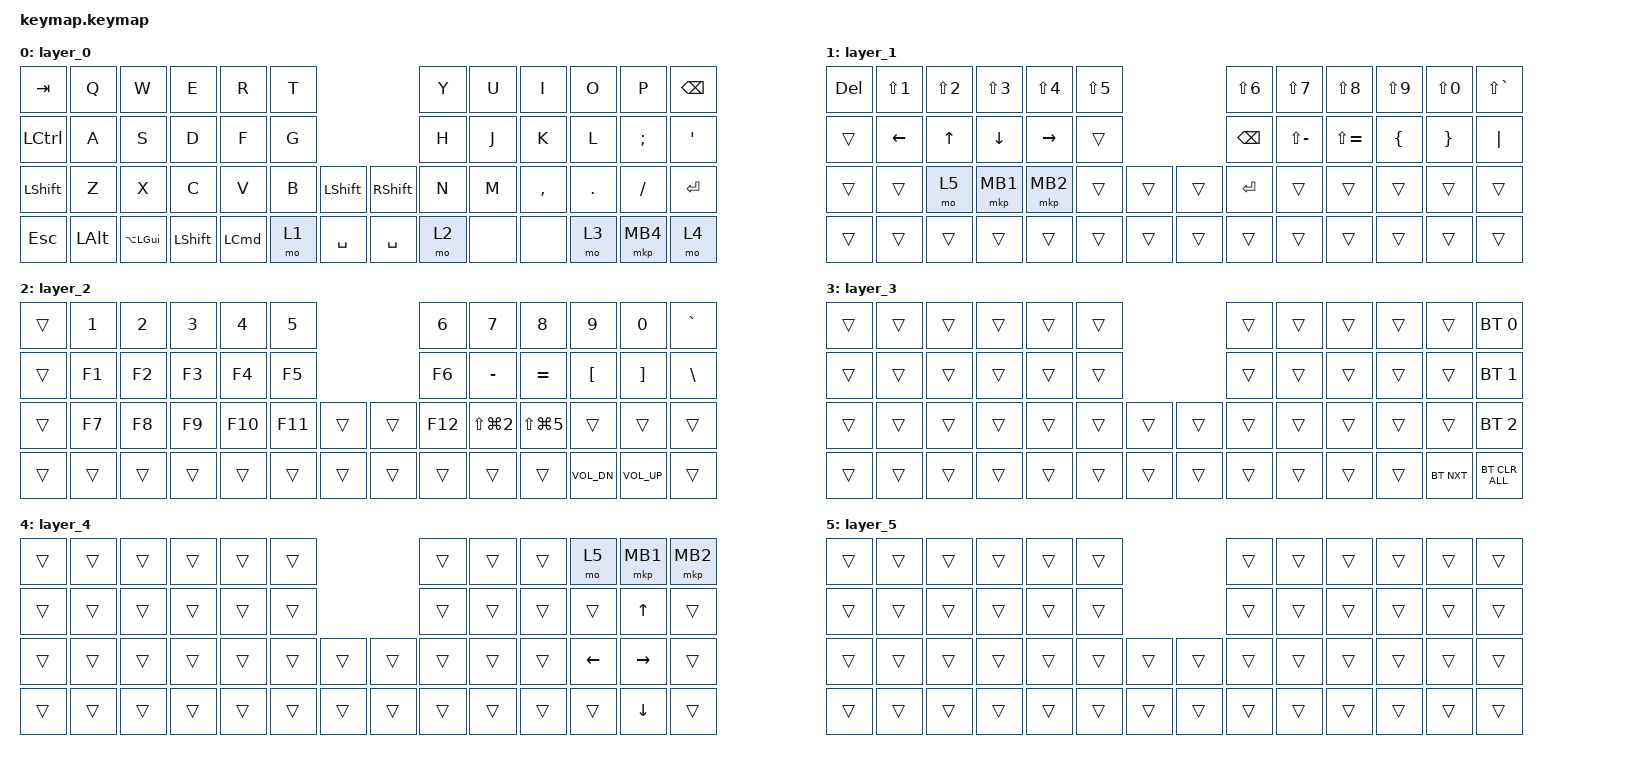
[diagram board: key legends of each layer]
#include <behaviors.dtsi>
#include <dt-bindings/zmk/bt.h>
#include <dt-bindings/zmk/keys.h>
#include <dt-bindings/zmk/pointing.h>

/ {
    combos {
        compatible = "zmk,combos";

        bt_clear {
            bindings = <&bt BT_CLR>;
            key-positions = <28 29>;
            layers = <2>;
        };
    };

    keymap {
        compatible = "zmk,keymap";

        layer_0 {
            bindings = <
&kp TAB    &kp Q         &kp W             &kp E           &kp R             &kp T                                   &kp Y  &kp U  &kp I      &kp O    &kp P     &kp BACKSPACE
&kp LCTRL  &kp A         &kp S             &kp D           &kp F             &kp G                                   &kp H  &kp J  &kp K      &kp L    &kp SEMI  &kp SQT
&kp LSHFT  &kp Z         &kp X             &kp C           &kp V             &kp B  &kp LEFT_SHIFT  &kp RIGHT_SHIFT  &kp N  &kp M  &kp COMMA  &kp DOT  &kp FSLH  &kp RET
&kp ESC    &kp LEFT_ALT  &kp LA(LEFT_GUI)  &kp LEFT_SHIFT  &kp LEFT_COMMAND  &mo 1  &kp SPACE       &kp SPACE        &mo 2  &none  &none      &mo 3    &mkp MB4  &mo 4
            >;
        };

        layer_1 {
            bindings = <
&kp DELETE  &kp LS(N1)      &kp LS(N2)    &kp LS(N3)  &kp LS(N4)       &kp LS(N5)                  &kp LS(N6)     &kp LS(N7)     &kp LS(N8)     &kp LS(N9)      &kp LS(N0)       &kp LS(GRAVE)
&trans      &kp LEFT_ARROW  &kp UP_ARROW  &kp DOWN    &kp RIGHT_ARROW  &trans                      &kp BACKSPACE  &kp LS(MINUS)  &kp LS(EQUAL)  &kp LEFT_BRACE  &kp RIGHT_BRACE  &kp PIPE
&trans      &trans          &mo 5         &mkp MB1    &mkp MB2         &trans      &trans  &trans  &kp ENTER      &trans         &trans         &trans          &trans           &trans
&trans      &trans          &trans        &trans      &trans           &trans      &trans  &trans  &trans         &trans         &trans         &trans          &trans           &trans
            >;
        };

        layer_2 {
            bindings = <
&trans  &kp N1  &kp N2  &kp N3  &kp N4   &kp N5                   &kp N6   &kp N7                &kp N8          &kp N9            &kp N0             &kp GRAVE
&trans  &kp F1  &kp F2  &kp F3  &kp F4   &kp F5                   &kp F6   &kp MINUS             &kp EQUAL       &kp LEFT_BRACKET  &kp RIGHT_BRACKET  &kp BACKSLASH
&trans  &kp F7  &kp F8  &kp F9  &kp F10  &kp F11  &trans  &trans  &kp F12  &kp LS(LG(NUMBER_2))  &kp LS(LG(N5))  &trans            &trans             &trans
&trans  &trans  &trans  &trans  &trans   &trans   &trans  &trans  &trans   &trans                &trans          &kp C_VOL_DN      &kp C_VOL_UP       &trans
            >;
        };

        layer_3 {
            bindings = <
&trans  &trans  &trans  &trans  &trans  &trans                  &trans  &trans  &trans  &trans  &trans      &bt BT_SEL 0
&trans  &trans  &trans  &trans  &trans  &trans                  &trans  &trans  &trans  &trans  &trans      &bt BT_SEL 1
&trans  &trans  &trans  &trans  &trans  &trans  &trans  &trans  &trans  &trans  &trans  &trans  &trans      &bt BT_SEL 2
&trans  &trans  &trans  &trans  &trans  &trans  &trans  &trans  &trans  &trans  &trans  &trans  &bt BT_NXT  &bt BT_CLR_ALL
            >;
        };

        layer_4 {
            bindings = <
&trans  &trans  &trans  &trans  &trans  &trans                  &trans  &trans  &trans  &mo 5     &mkp MB1   &mkp MB2
&trans  &trans  &trans  &trans  &trans  &trans                  &trans  &trans  &trans  &trans    &kp UP     &trans
&trans  &trans  &trans  &trans  &trans  &trans  &trans  &trans  &trans  &trans  &trans  &kp LEFT  &kp RIGHT  &trans
&trans  &trans  &trans  &trans  &trans  &trans  &trans  &trans  &trans  &trans  &trans  &trans    &kp DOWN   &trans
            >;
        };

        layer_5 {
            bindings = <
&trans  &trans  &trans  &trans  &trans  &trans                  &trans  &trans  &trans  &trans  &trans  &trans
&trans  &trans  &trans  &trans  &trans  &trans                  &trans  &trans  &trans  &trans  &trans  &trans
&trans  &trans  &trans  &trans  &trans  &trans  &trans  &trans  &trans  &trans  &trans  &trans  &trans  &trans
&trans  &trans  &trans  &trans  &trans  &trans  &trans  &trans  &trans  &trans  &trans  &trans  &trans  &trans
            >;
        };
    };
};
